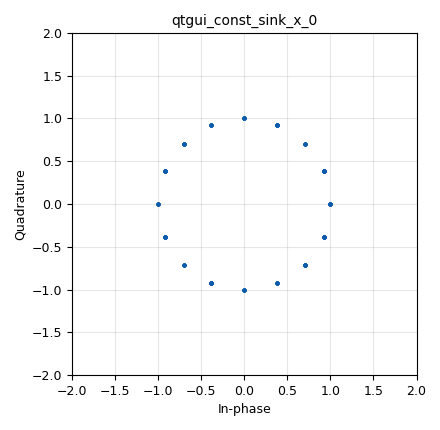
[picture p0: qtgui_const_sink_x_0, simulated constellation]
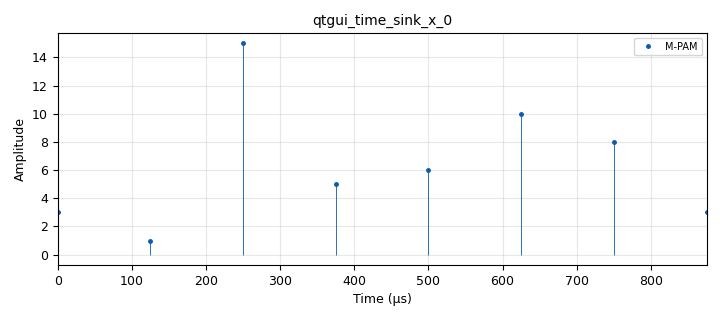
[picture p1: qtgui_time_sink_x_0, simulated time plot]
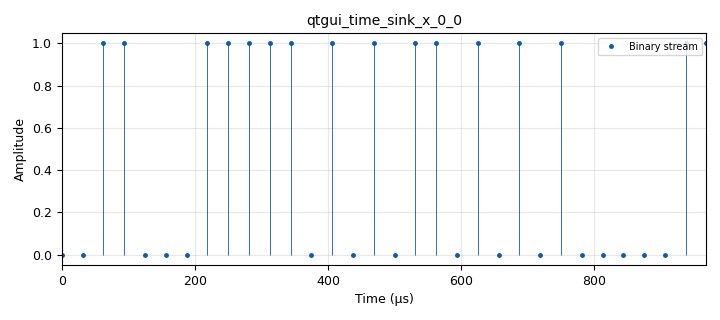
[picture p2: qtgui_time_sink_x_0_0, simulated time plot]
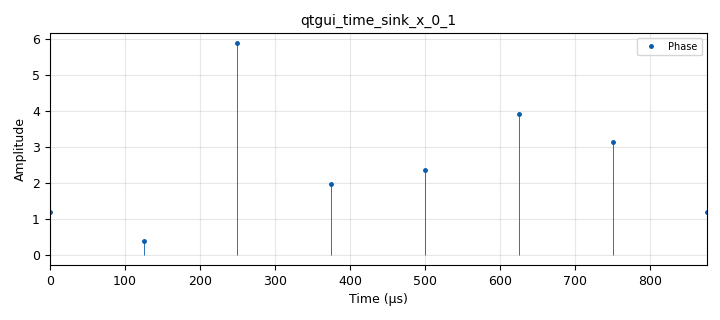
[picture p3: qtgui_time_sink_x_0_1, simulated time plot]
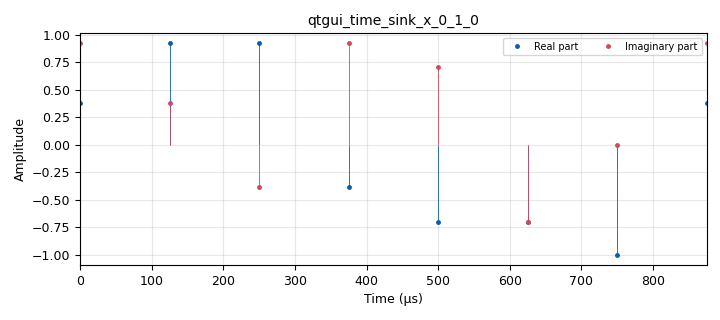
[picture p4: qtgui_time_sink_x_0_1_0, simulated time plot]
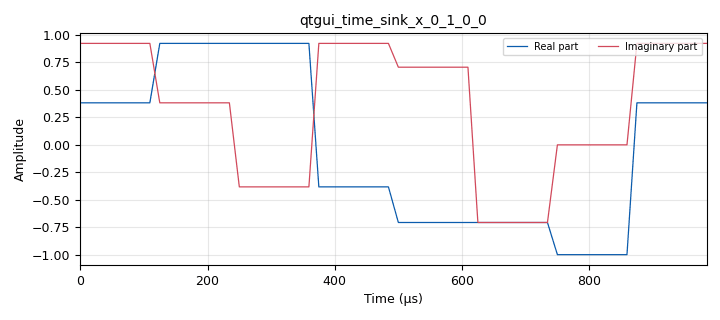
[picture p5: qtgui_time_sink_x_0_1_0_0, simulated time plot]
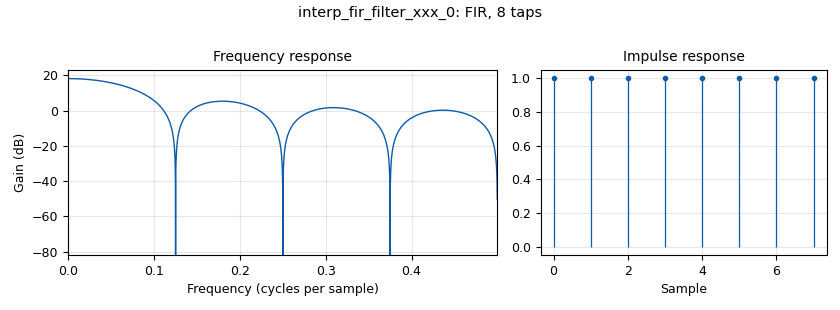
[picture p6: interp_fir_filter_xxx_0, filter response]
options:
  parameters:
    generate_options: qt_gui
    id: mpsk
    output_language: python
    title: Not titled yet
  states: {}

blocks:
- name: M
  id: variable
  parameters:
    value: '16'
  states: {}
- name: Nb
  id: variable
  parameters:
    value: int(math.log(M,2))
  states: {}
- name: Rb
  id: variable
  parameters:
    value: '32000'
  states: {}
- name: Rs
  id: variable
  parameters:
    value: Rb/Nb
  states: {}
- name: Sps
  id: variable
  parameters:
    value: len(h)
  states: {}
- name: h
  id: variable
  parameters:
    value: (1.,1.,1.,1.,1.,1.,1.,1)
  states: {}
- name: samp_rate
  id: variable
  parameters:
    value: Rs*Sps
  states: {}
- name: analog_const_source_x_0
  id: analog_const_source_x
  parameters:
    const: '1'
    type: float
  states: {}
- name: analog_random_source_x_0
  id: analog_random_source_x
  parameters:
    max: '2'
    min: '0'
    num_samps: '1000'
    repeat: 'True'
    type: byte
  states: {}
- name: blocks_char_to_float_0
  id: blocks_char_to_float
  parameters:
    scale: '1'
  states: {}
- name: blocks_char_to_float_0_0
  id: blocks_char_to_float
  parameters:
    scale: '1'
  states: {}
- name: blocks_multiply_const_vxx_0
  id: blocks_multiply_const_vxx
  parameters:
    const: 2*math.pi/M
    type: float
  states: {}
- name: blocks_pack_k_bits_bb_0
  id: blocks_pack_k_bits_bb
  parameters:
    k: Nb
  states: {}
- name: epy_block_0_0
  id: epy_block
  parameters:
    A: '1'
    M: M
    _source_code: |
      import numpy as np
      from gnuradio import gr
      import math

      class blk(gr.sync_block):  
          """
          M-PSK Modulator:
          - Input: binary stream (0/1)
          - Outputs:
              0: complex baseband signal
              1: real RF signal
          """

          def __init__(self, M=4, A=1.0, fc=1000, fs=32000):  
              gr.sync_block.__init__(
                  self,
                  name='MPSK_Modulator',
                  in_sig=[np.int8],
                  out_sig=[np.complex64, np.float32]
              )
              
              self.M = M
              self.A = A
              self.fc = fc
              self.fs = fs
              
              self.k = int(np.log2(M))  # bits per symbol
              self.phase_acc = 0  # para continuidad de fase si quieres extenderlo

          def work(self, input_items, output_items):
              bits = input_items[0]
              bb_out = output_items[0]
              rf_out = output_items[1]

              N = len(bits)

              # Número de símbolos que podemos formar
              num_symbols = N // self.k

              if num_symbols == 0:
                  return 0

              # Agrupar bits
              bits_reshaped = bits[:num_symbols*self.k].reshape((num_symbols, self.k))

              # Convertir bits a enteros
              symbols = np.zeros(num_symbols, dtype=np.int32)
              for i in range(self.k):
                  symbols += bits_reshaped[:, i] << (self.k - i - 1)

              # Mapear a fase
              phases = 2 * np.pi * symbols / self.M

              # Envolvente compleja (baseband)
              bb = self.A * np.exp(1j * phases)

              # Tiempo discreto
              t = np.arange(num_symbols) / self.fs

              # Señal RF
              rf = self.A * np.cos(2 * np.pi * self.fc * t + phases)

              # Salidas
              bb_out[:num_symbols] = bb
              rf_out[:num_symbols] = rf

              return num_symbols
    fc: '124000'
    fs: samp_rate
  states: {state: disabled}
- name: epy_block_0_0_0
  id: epy_block
  parameters:
    _source_code: |
      import numpy as np
      from gnuradio import gr
      import math

      class blk(gr.sync_block):  
          """This block is a CE VCO or baseband VCO and works as following: ….."""

          def __init__(self,):  
              gr.sync_block.__init__(
                  self,
                  name='e_CE_VCO_fc',   
                  in_sig=[np.float32, np.float32],
                  out_sig=[np.complex64]
              )
              
          def work(self, input_items, output_items):
              A=input_items[0]
              Q=input_items[1]
              y=output_items[0]
              N=len(A)
              y[:]=A*np.exp(1j*Q)
              return len(output_items[0])
  states: {}
- name: import_0
  id: import
  parameters:
    imports: import math
  states: {}
- name: interp_fir_filter_xxx_0
  id: interp_fir_filter_xxx
  parameters:
    interp: Sps
    taps: h
    type: ccc
  states: {}
- name: qtgui_const_sink_x_0
  id: qtgui_const_sink_x
  parameters:
    size: '1024'
    type: complex
  states: {}
- name: qtgui_time_sink_x_0
  id: qtgui_time_sink_x
  parameters:
    autoscale: 'True'
    grid: 'True'
    label1: M-PAM
    marker1: '0'
    size: int(32/Nb)
    srate: Rs
    stemplot: 'True'
    type: float
    width1: '2'
  states: {}
- name: qtgui_time_sink_x_0_0
  id: qtgui_time_sink_x
  parameters:
    autoscale: 'True'
    grid: 'True'
    label1: Binary stream
    marker1: '0'
    size: '32'
    srate: Rb
    stemplot: 'True'
    type: float
    width1: '2'
  states: {}
- name: qtgui_time_sink_x_0_1
  id: qtgui_time_sink_x
  parameters:
    autoscale: 'True'
    grid: 'True'
    label1: Phase
    marker1: '0'
    size: int(32/Nb)
    srate: Rs
    stemplot: 'True'
    type: float
    width1: '2'
  states: {}
- name: qtgui_time_sink_x_0_1_0
  id: qtgui_time_sink_x
  parameters:
    autoscale: 'True'
    grid: 'True'
    label1: Real part
    label2: Imaginary part
    marker1: '0'
    marker2: '0'
    size: int(32/Nb)
    srate: Rs
    stemplot: 'True'
    style1: '2'
    type: complex
    width1: '2'
    width2: '2'
  states: {}
- name: qtgui_time_sink_x_0_1_0_0
  id: qtgui_time_sink_x
  parameters:
    autoscale: 'True'
    grid: 'True'
    label1: Real part
    label2: Imaginary part
    size: int(32*Sps/Nb)
    srate: samp_rate
    type: complex
    width1: '2'
    width2: '2'
  states: {}
- name: virtual_sink_0
  id: virtual_sink
  parameters:
    stream_id: s1
  states: {state: disabled}
- name: virtual_sink_0_0
  id: virtual_sink
  parameters:
    stream_id: s1
  states: {}
- name: virtual_source_0
  id: virtual_source
  parameters:
    stream_id: s1
  states: {}

connections:
- [analog_const_source_x_0, '0', epy_block_0_0_0, '0']
- [analog_random_source_x_0, '0', blocks_char_to_float_0_0, '0']
- [analog_random_source_x_0, '0', blocks_pack_k_bits_bb_0, '0']
- [analog_random_source_x_0, '0', epy_block_0_0, '0']
- [blocks_char_to_float_0, '0', blocks_multiply_const_vxx_0, '0']
- [blocks_char_to_float_0, '0', qtgui_time_sink_x_0, '0']
- [blocks_char_to_float_0_0, '0', qtgui_time_sink_x_0_0, '0']
- [blocks_multiply_const_vxx_0, '0', qtgui_time_sink_x_0_1, '0']
- [blocks_multiply_const_vxx_0, '0', virtual_sink_0_0, '0']
- [blocks_pack_k_bits_bb_0, '0', blocks_char_to_float_0, '0']
- [epy_block_0_0, '0', interp_fir_filter_xxx_0, '0']
- [epy_block_0_0, '0', qtgui_const_sink_x_0, '0']
- [epy_block_0_0, '0', qtgui_time_sink_x_0_1_0, '0']
- [epy_block_0_0, '1', virtual_sink_0, '0']
- [epy_block_0_0_0, '0', interp_fir_filter_xxx_0, '0']
- [epy_block_0_0_0, '0', qtgui_const_sink_x_0, '0']
- [epy_block_0_0_0, '0', qtgui_time_sink_x_0_1_0, '0']
- [interp_fir_filter_xxx_0, '0', qtgui_time_sink_x_0_1_0_0, '0']
- [virtual_source_0, '0', epy_block_0_0_0, '1']

metadata:
  file_format: 1
